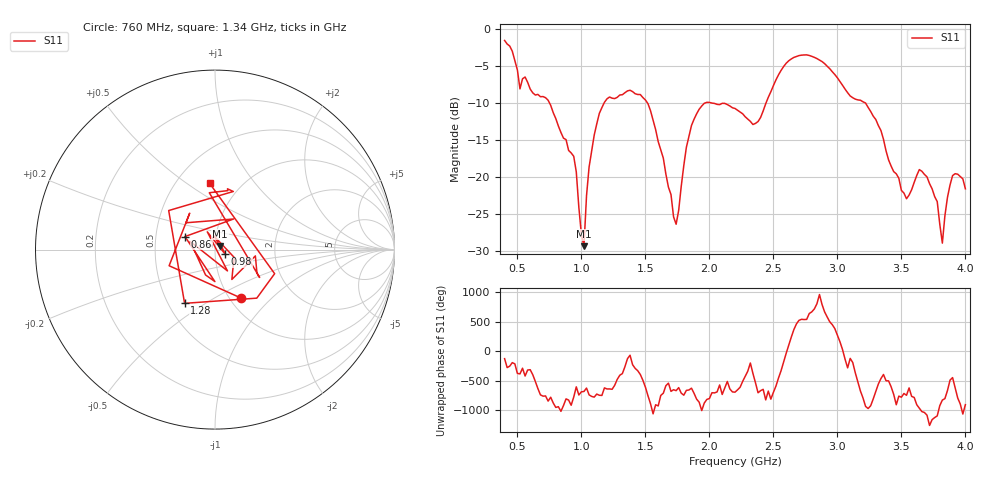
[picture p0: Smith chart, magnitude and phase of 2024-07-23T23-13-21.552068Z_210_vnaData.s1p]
!Created with skrf (http://scikit-rf.org).
# Hz S RI R 50.0
!freq ReS11 ImS11
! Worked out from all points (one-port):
!   181 points, 400 MHz to 4 GHz, reference 50 ohm
!   lowest |S11| = -29.4 dB at 1.02 GHz (marker M1), VSWR 1.07, Z = 52.8 + j2.08 ohm
!   |S11| at or under -10 dB: 1.515 GHz to 1.971 GHz (456.3 MHz wide, 26.2 % of centre); 2.011 GHz to 2.443 GHz (432.4 MHz wide, 19.4 % of centre); 3.216 GHz to end of sweep (the widest 3 of 4)
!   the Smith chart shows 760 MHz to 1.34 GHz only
!   S11 on the Smith chart (normalised r, x): 760 MHz: 1.12, -0.66; 860 MHz: 0.71, +0.11; 980 MHz: 1.12, -0.06; 1.28 GHz: 0.61, -0.41; 1.34 GHz: 0.72, +0.62
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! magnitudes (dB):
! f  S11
! 400 MHz  -1.6
! 520 MHz  -8.1
! 760 MHz  -10.3
! 860 MHz  -14.8
! 940 MHz  -17.2
! 980 MHz  -24.1
! 1.02 GHz  -29.4
! 1.06 GHz  -18.7
! 1.1 GHz  -14.4
! 1.28 GHz  -9.3
! 1.3 GHz  -9.0
! 1.34 GHz  -8.6
! 1.52 GHz  -10.1
! 1.72 GHz  -25.4
! 1.76 GHz  -24.5
! 1.82 GHz  -16.0
! 1.9 GHz  -11.5
! 2.2 GHz  -10.8
! 2.38 GHz  -12.5
! 2.66 GHz  -3.9
! 3.1 GHz  -9.1
! 3.3 GHz  -12.3
! 3.56 GHz  -22.5
! 3.7 GHz  -20.0
! 3.78 GHz  -23.4
! 3.82 GHz  -29.0
! 3.9 GHz  -19.8
! 4 GHz  -21.6
